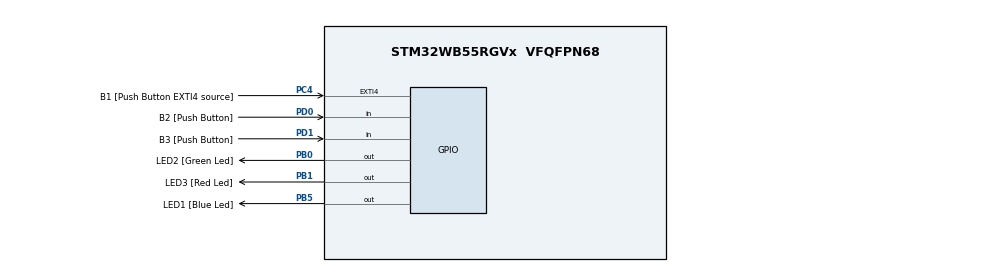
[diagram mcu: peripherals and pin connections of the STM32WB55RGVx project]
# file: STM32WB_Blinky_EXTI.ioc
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Mcu.Family=STM32WB
Mcu.Name=STM32WB55RGVx
Mcu.Package=VFQFPN68
NVIC.EXTI4_IRQn=true\:0\:0\:true\:false\:true\:true\:true
NVIC.PriorityGroup=NVIC_PRIORITYGROUP_4
OSC_IN.Mode=HSE-External-Oscillator
OSC_IN.Signal=RCC_OSC_IN
OSC_OUT.Mode=HSE-External-Oscillator
OSC_OUT.Signal=RCC_OSC_OUT
PA11.Signal=USB_DM
PA12.Signal=USB_DP
PA13.GPIO_Label=JTMS
PA13.Signal=SYS_JTMS-SWDIO
PA14.GPIO_Label=JTCK
PA14.Signal=SYS_JTCK-SWCLK
PB0.GPIO_Label=LED2 [Green Led]
PB0.Signal=GPIO_Output
PB1.GPIO_Label=LED3 [Red Led]
PB1.Signal=GPIO_Output
PB3.GPIO_Label=JTDO
PB3.Signal=SYS_JTDO-SWO
PB5.GPIO_Label=LED1 [Blue Led]
PB5.Signal=GPIO_Output
PB6.GPIO_Label=STLINK_RX
PB6.Signal=USART1_TX
PB7.GPIO_Label=STLINK_TX
PB7.Signal=USART1_RX
PC13.Signal=SYS_WKUP2
PC14-OSC32_IN.Signal=RCC_OSC32_IN
PC15-OSC32_OUT.Signal=RCC_OSC32_OUT
PC4.GPIO_Label=B1 [Push Button EXTI4 source]
PC4.GPIO_ModeDefaultEXTI=GPIO_MODE_IT_FALLING
PC4.GPIO_PuPd=GPIO_PULLUP
PC4.Signal=GPXTI4
PD0.GPIO_Label=B2 [Push Button]
PD0.Signal=GPIO_Input
PD1.GPIO_Label=B3 [Push Button]
PD1.Signal=GPIO_Input
ProjectManager.HeapSize=0x200
ProjectManager.StackSize=0x400
ProjectManager.TargetToolchain=Makefile
RCC.ADCFreq_Value=128000000
RCC.AHBFreq_Value=32000000
RCC.APB1Freq_Value=32000000
RCC.APB1TimFreq_Value=32000000
RCC.APB2Freq_Value=32000000
RCC.APB2TimFreq_Value=32000000
RCC.APB3Freq_Value=16000000
RCC.CortexFreq_Value=32000000
RCC.HCLKFreq_Value=32000000
RCC.HSE_VALUE=32000000
RCC.HSI48_VALUE=48000000
RCC.HSI_VALUE=16000000
RCC.LSE_VALUE=32768
RCC.MSIClockRange=RCC_MSIRANGE_10
RCC.SMPSCLockSelectionVirtual=RCC_SMPSCLKSOURCE_HSI
RCC.SMPSCLockSelectionVirtualVirtual=RCC_SMPSCLKSOURCE_HSI
RCC.SYSCLKFreq_VALUE=32000000
RCC.USBFreq_Value=128000000
RCC.VCOOutputFreq_Value=256000000
board=P-NUCLEO-WB55-Nucleo

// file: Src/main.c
/* USER CODE BEGIN Header */
/**
  ******************************************************************************
  * @file           : main.c
  * @brief          : Main program body
  ******************************************************************************
  * @attention
  *
  * <h2><center>&copy; Copyright (c) 2019 STMicroelectronics.
  * All rights reserved.</center></h2>
  *
  * This software component is licensed by ST under BSD 3-Clause license,
  * the "License"; You may not use this file except in compliance with the
  * License. You may obtain a copy of the License at:
  *                        opensource.org/licenses/BSD-3-Clause
  *
  ******************************************************************************
  */
/* USER CODE END Header */

#include "main.h"

/* USER CODE BEGIN PV */
uint8_t state = 1;
/* USER CODE END PV */

void SystemClock_Config(void);
static void MX_GPIO_Init(void);

int main(void)
{

  /* MCU Configuration--------------------------------------------------------*/

  /* Reset of all peripherals, Initializes the Flash interface and the Systick. */
  HAL_Init();

  /* Configure the system clock */
  SystemClock_Config();

  /* Initialize all configured peripherals */
  MX_GPIO_Init();

  /* Infinite loop */
  while (1)
  {

    /* USER CODE BEGIN 3 */
    if (state)
    {
        HAL_GPIO_TogglePin(LED1_GPIO_Port, LED1_Pin);
        HAL_Delay(250);
        HAL_GPIO_TogglePin(LED2_GPIO_Port, LED2_Pin);
        HAL_Delay(250);
        HAL_GPIO_TogglePin(LED3_GPIO_Port, LED3_Pin);
        HAL_Delay(250);
    }
    else
    {
        HAL_GPIO_TogglePin(LED3_GPIO_Port, LED3_Pin);
        HAL_Delay(333);
        HAL_GPIO_TogglePin(LED2_GPIO_Port, LED2_Pin);
        HAL_Delay(333);
        HAL_GPIO_TogglePin(LED1_GPIO_Port, LED1_Pin);
        HAL_Delay(333);
    }
  }
  /* USER CODE END 3 */
}

void SystemClock_Config(void)
{
  RCC_OscInitTypeDef RCC_OscInitStruct = {0};
  RCC_ClkInitTypeDef RCC_ClkInitStruct = {0};
  RCC_PeriphCLKInitTypeDef PeriphClkInitStruct = {0};

  /** Configure the main internal regulator output voltage
  */
  __HAL_PWR_VOLTAGESCALING_CONFIG(PWR_REGULATOR_VOLTAGE_SCALE1);
  /** Initializes the CPU, AHB and APB busses clocks
  */
  RCC_OscInitStruct.OscillatorType = RCC_OSCILLATORTYPE_HSI|RCC_OSCILLATORTYPE_HSE
                              |RCC_OSCILLATORTYPE_MSI;
  RCC_OscInitStruct.HSEState = RCC_HSE_ON;
  RCC_OscInitStruct.HSIState = RCC_HSI_ON;
  RCC_OscInitStruct.MSIState = RCC_MSI_ON;
  RCC_OscInitStruct.HSICalibrationValue = RCC_HSICALIBRATION_DEFAULT;
  RCC_OscInitStruct.MSICalibrationValue = RCC_MSICALIBRATION_DEFAULT;
  RCC_OscInitStruct.MSIClockRange = RCC_MSIRANGE_10;
  RCC_OscInitStruct.PLL.PLLState = RCC_PLL_NONE;
  if (HAL_RCC_OscConfig(&RCC_OscInitStruct) != HAL_OK)
  {
    Error_Handler();
  }
  /** Configure the SYSCLKSource, HCLK, PCLK1 and PCLK2 clocks dividers
  */
  RCC_ClkInitStruct.ClockType = RCC_CLOCKTYPE_HCLK4|RCC_CLOCKTYPE_HCLK2
                              |RCC_CLOCKTYPE_HCLK|RCC_CLOCKTYPE_SYSCLK
                              |RCC_CLOCKTYPE_PCLK1|RCC_CLOCKTYPE_PCLK2;
  RCC_ClkInitStruct.SYSCLKSource = RCC_SYSCLKSOURCE_MSI;
  RCC_ClkInitStruct.AHBCLKDivider = RCC_SYSCLK_DIV1;
  RCC_ClkInitStruct.APB1CLKDivider = RCC_HCLK_DIV1;
  RCC_ClkInitStruct.APB2CLKDivider = RCC_HCLK_DIV1;
  RCC_ClkInitStruct.AHBCLK2Divider = RCC_SYSCLK_DIV1;
  RCC_ClkInitStruct.AHBCLK4Divider = RCC_SYSCLK_DIV1;

  if (HAL_RCC_ClockConfig(&RCC_ClkInitStruct, FLASH_LATENCY_1) != HAL_OK)
  {
    Error_Handler();
  }
  /** Initializes the peripherals clocks
  */
  PeriphClkInitStruct.PeriphClockSelection = RCC_PERIPHCLK_SMPS;
  PeriphClkInitStruct.SmpsClockSelection = RCC_SMPSCLKSOURCE_HSI;
  PeriphClkInitStruct.SmpsDivSelection = RCC_SMPSCLKDIV_RANGE1;
  if (HAL_RCCEx_PeriphCLKConfig(&PeriphClkInitStruct) != HAL_OK)
  {
    Error_Handler();
  }
}

static void MX_GPIO_Init(void)
{
  GPIO_InitTypeDef GPIO_InitStruct = {0};

  /* GPIO Ports Clock Enable */
  __HAL_RCC_GPIOC_CLK_ENABLE();
  __HAL_RCC_GPIOB_CLK_ENABLE();
  __HAL_RCC_GPIOA_CLK_ENABLE();
  __HAL_RCC_GPIOD_CLK_ENABLE();

  /*Configure GPIO pin Output Level */
  HAL_GPIO_WritePin(GPIOB, LED2_Pin|LED3_Pin|LED1_Pin, GPIO_PIN_RESET);

  /*Configure GPIO pin : B1_Pin */
  GPIO_InitStruct.Pin = B1_Pin;
  GPIO_InitStruct.Mode = GPIO_MODE_IT_FALLING;
  GPIO_InitStruct.Pull = GPIO_PULLUP;
  HAL_GPIO_Init(B1_GPIO_Port, &GPIO_InitStruct);

  /*Configure GPIO pins : LED2_Pin LED3_Pin LED1_Pin */
  GPIO_InitStruct.Pin = LED2_Pin|LED3_Pin|LED1_Pin;
  GPIO_InitStruct.Mode = GPIO_MODE_OUTPUT_PP;
  GPIO_InitStruct.Pull = GPIO_NOPULL;
  GPIO_InitStruct.Speed = GPIO_SPEED_FREQ_LOW;
  HAL_GPIO_Init(GPIOB, &GPIO_InitStruct);

  /*Configure GPIO pins : PA11 PA12 */
  GPIO_InitStruct.Pin = GPIO_PIN_11|GPIO_PIN_12;
  GPIO_InitStruct.Mode = GPIO_MODE_AF_PP;
  GPIO_InitStruct.Pull = GPIO_NOPULL;
  GPIO_InitStruct.Speed = GPIO_SPEED_FREQ_LOW;
  GPIO_InitStruct.Alternate = GPIO_AF10_USB;
  HAL_GPIO_Init(GPIOA, &GPIO_InitStruct);

  /*Configure GPIO pins : B2_Pin B3_Pin */
  GPIO_InitStruct.Pin = B2_Pin|B3_Pin;
  GPIO_InitStruct.Mode = GPIO_MODE_INPUT;
  GPIO_InitStruct.Pull = GPIO_NOPULL;
  HAL_GPIO_Init(GPIOD, &GPIO_InitStruct);

  /*Configure GPIO pins : STLINK_RX_Pin STLINK_TX_Pin */
  GPIO_InitStruct.Pin = STLINK_RX_Pin|STLINK_TX_Pin;
  GPIO_InitStruct.Mode = GPIO_MODE_AF_PP;
  GPIO_InitStruct.Pull = GPIO_NOPULL;
  GPIO_InitStruct.Speed = GPIO_SPEED_FREQ_LOW;
  GPIO_InitStruct.Alternate = GPIO_AF7_USART1;
  HAL_GPIO_Init(GPIOB, &GPIO_InitStruct);

  /* EXTI interrupt init*/
  HAL_NVIC_SetPriority(EXTI4_IRQn, 0, 0);
  HAL_NVIC_EnableIRQ(EXTI4_IRQn);

}

/* USER CODE BEGIN 4 */
void HAL_GPIO_EXTI_Callback(uint16_t GPIO_Pin)
{
    if (GPIO_Pin == B1_Pin)
    {
        state = !state;
    }
}
/* USER CODE END 4 */

void Error_Handler(void)
{
}

/************************ (C) COPYRIGHT STMicroelectronics *****END OF FILE****/
